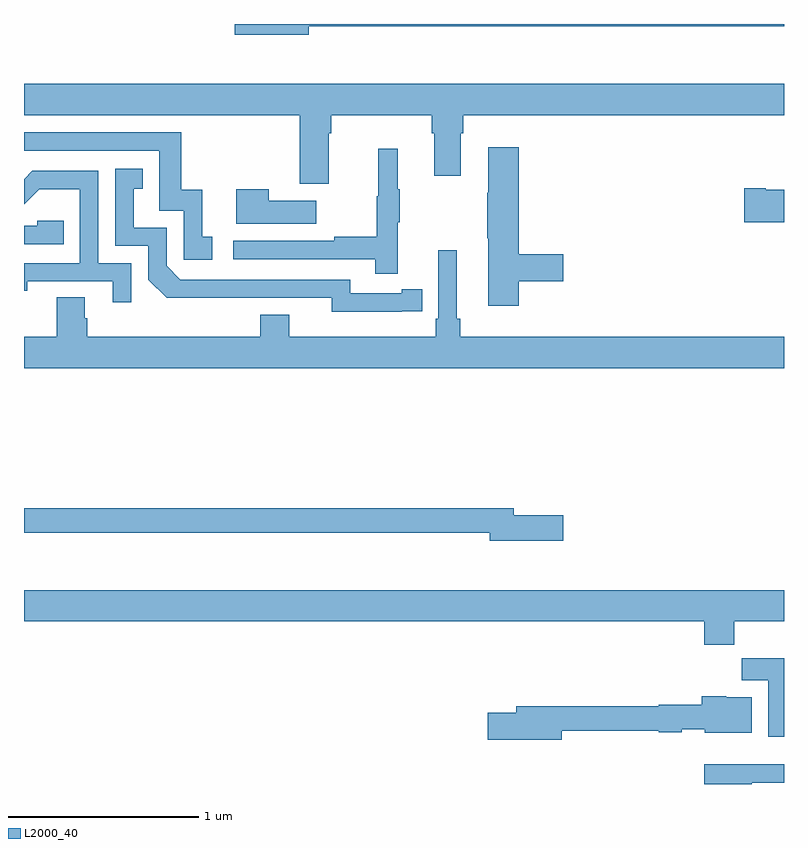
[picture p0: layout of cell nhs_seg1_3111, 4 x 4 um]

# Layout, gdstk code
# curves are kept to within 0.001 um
import gdstk
lib = gdstk.Library(unit=1e-6, precision=1e-09)
def P(c, l, *ps):  # polygons
    for p in ps: c.add(gdstk.Polygon(p, *l))
L2000_40 = (2000, 40)

nhs_seg1_3111 = lib.new_cell('nhs_seg1_3111')
P(nhs_seg1_3111, L2000_40, [(280.498,564.186),(283,564.186),(283,564.199),(280.11,564.199),(280.11,564.143),(280.498,564.143)],
  [(280.603,563.624),(280.616,563.624),(280.616,563.72),(281.147,563.72),(281.147,563.624),(281.159,563.624),(281.159,563.4),(281.299,563.4),(281.299,563.624),(281.312,563.624),(281.312,563.72),(283,563.72),(283,563.884),(279,563.884),(279,563.72),(280.451,563.72),(280.451,563.358),(280.603,563.358)],
  [(279.991,563.079),(279.938,563.079),(279.938,563.326),(279.827,563.326),(279.827,563.628),(279,563.628),(279,563.532),(279.711,563.532),(279.711,563.217),(279.84,563.217),(279.84,562.959),(279.991,562.959)],
  [(281.603,562.846),(281.839,562.846),(281.839,562.988),(281.603,562.988),(281.603,563.551),(281.444,563.551),(281.444,563.312),(281.437,563.312),(281.437,563.071),(281.444,563.071),(281.444,562.716),(281.603,562.716)],
  [(280.967,563.155),(280.978,563.155),(280.978,563.329),(280.967,563.329),(280.967,563.542),(280.864,563.542),(280.864,563.292),(280.857,563.292),(280.857,563.078),(280.633,563.078),(280.633,563.058),(280.101,563.058),(280.101,562.962),(280.849,562.962),(280.849,562.884),(280.967,562.884)],
  [(280.988,562.686),(281.096,562.686),(281.096,562.802),(280.988,562.802),(280.988,562.782),(280.716,562.782),(280.716,562.854),(279.822,562.854),(279.75,562.926),(279.75,563.127),(279.577,563.127),(279.577,563.331),(279.626,563.331),(279.626,563.437),(279.48,563.437),(279.48,563.031),(279.654,563.031),(279.654,562.854),(279.752,562.757),(280.62,562.758),(280.62,562.685)],
  [(279.564,562.941),(279.39,562.941),(279.39,563.427),(279.044,563.427),(279,563.383),(279,563.25),(279.08,563.33),(279.294,563.33),(279.294,562.941),(279,562.941),(279,562.794),(279.016,562.794),(279.016,562.845),(279.467,562.845),(279.467,562.734),(279.564,562.734)],
  [(283,563.326),(282.904,563.326),(282.904,563.334),(282.792,563.334),(282.792,563.156),(283,563.156)],
  [(280.537,563.269),(280.289,563.269),(280.289,563.329),(280.118,563.329),(280.118,563.147),(280.537,563.147)],
  [(279.209,563.163),(279.069,563.163),(279.069,563.136),(279,563.136),(279,563.04),(279.209,563.04)],
  [(283,562.552),(281.297,562.552),(281.297,562.648),(281.278,562.648),(281.278,563.008),(281.181,563.008),(281.181,562.648),(281.168,562.648),(281.168,562.552),(280.396,562.552),(280.396,562.669),(280.244,562.669),(280.244,562.552),(279.332,562.552),(279.332,562.65),(279.319,562.65),(279.319,562.76),(279.172,562.76),(279.172,562.552),(279,562.552),(279,562.388),(283,562.388)],
  [(281.839,561.614),(281.578,561.614),(281.578,561.65),(279,561.65),(279,561.522),(281.45,561.522),(281.45,561.479),(281.839,561.479)],
  [(282.737,561.056),(283,561.056),(283,561.22),(279,561.22),(279,561.056),(282.581,561.056),(282.581,560.932),(282.737,560.932)],
  [(283,560.862),(282.778,560.862),(282.778,560.744),(282.917,560.744),(282.917,560.448),(283,560.448)],
  [(281.83,560.479),(282.342,560.479),(282.342,560.471),(282.462,560.471),(282.462,560.486),(282.582,560.486),(282.582,560.468),(282.829,560.468),(282.829,560.656),(282.696,560.656),(282.696,560.662),(282.566,560.662),(282.566,560.616),(282.342,560.616),(282.342,560.608),(281.591,560.608),(281.591,560.574),(281.442,560.574),(281.442,560.432),(281.83,560.432)],
  [(282.829,560.205),(283,560.205),(283,560.302),(282.581,560.302),(282.581,560.199),(282.829,560.199)])

lib.write_gds('nhs_seg1_3111.gds')
